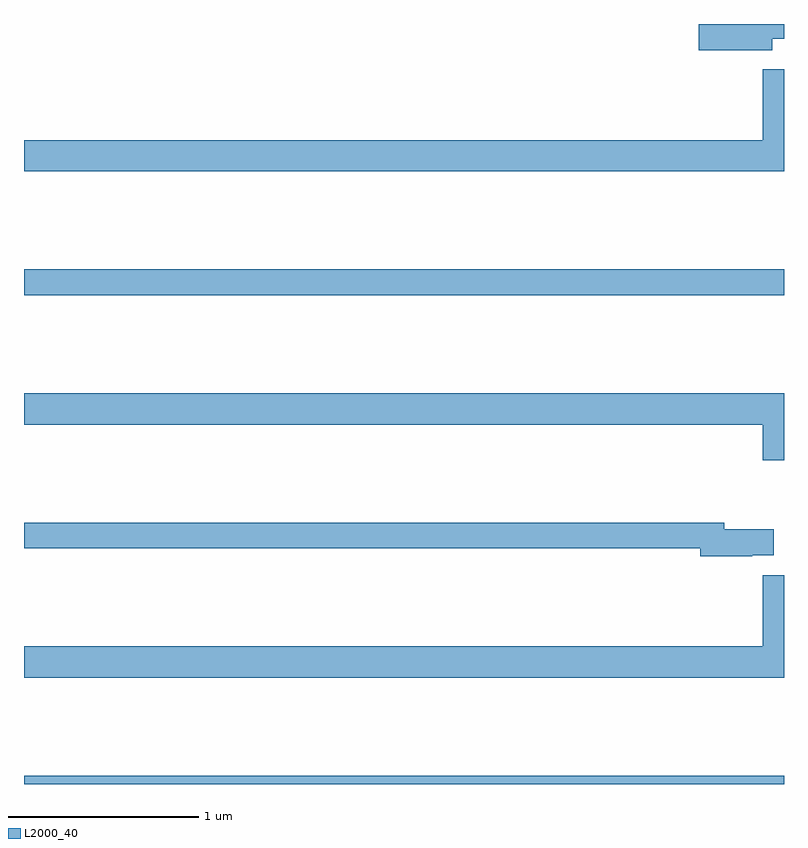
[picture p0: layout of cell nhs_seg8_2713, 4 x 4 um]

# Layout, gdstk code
import gdstk
lib = gdstk.Library(unit=1e-6, precision=1e-09)
def R(c, l, rs):  # rectangles x0, y0, x1, y1
    for r in rs: c.add(gdstk.rectangle(r[:2], r[2:], *l))
def P(c, l, *ps):  # polygons
    for p in ps: c.add(gdstk.Polygon(p, *l))
L2000_40 = (2000, 40)

nhs_seg8_2713 = lib.new_cell('nhs_seg8_2713')
R(nhs_seg8_2713, L2000_40, [(281,1155.9,285,1155.944), (281,1158.472,285,1158.608)])
P(nhs_seg8_2713, L2000_40, [(284.938,1159.823),(285,1159.823),(285,1159.9),(284.55,1159.9),(284.55,1159.762),(284.938,1159.762)],
  [(285,1159.663),(284.888,1159.663),(284.888,1159.288),(281,1159.288),(281,1159.124),(285,1159.124)],
  [(285,1157.956),(281,1157.956),(281,1157.792),(284.888,1157.792),(284.888,1157.604),(285,1157.604)],
  [(284.834,1157.105),(284.947,1157.105),(284.947,1157.24),(284.686,1157.24),(284.686,1157.276),(281,1157.276),(281,1157.14),(284.558,1157.14),(284.558,1157.098),(284.834,1157.098)],
  [(285,1156.999),(284.888,1156.999),(284.888,1156.624),(281,1156.624),(281,1156.46),(285,1156.46)])

lib.write_gds('nhs_seg8_2713.gds')
